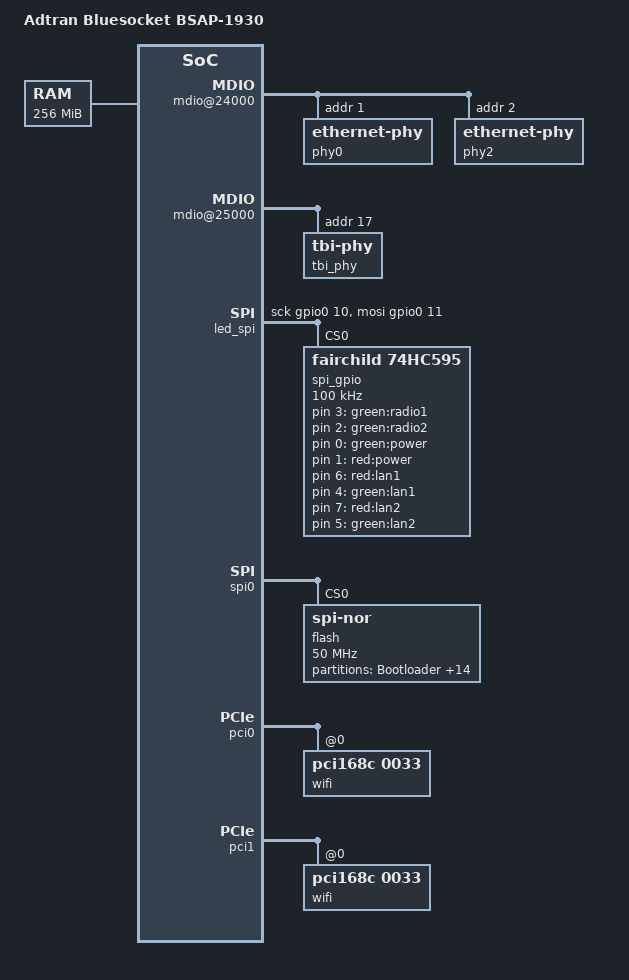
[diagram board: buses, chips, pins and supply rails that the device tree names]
// SPDX-License-Identifier: GPL-2.0-or-later or MIT

#include <dt-bindings/gpio/gpio.h>

/include/ "fsl/p1010si-pre.dtsi"

/ {
	model = "Adtran Bluesocket BSAP-1930";
	compatible = "adtran,bsap-1930";

	aliases {
		led-boot = &led_power_green;
		led-failsafe = &led_power_red;
		led-running = &led_power_green;
		led-upgrade = &led_power_red;
		label-mac-device = &enet0;
	};

	chosen {
		bootargs = "console=ttyS0,115200";
	};

	memory {
		device_type = "memory";
		reg = <0x0 0x0 0x0 0x10000000>;
	};
	
	leds {
		compatible = "gpio-leds";

		wifi1 {
			gpios = <&spi_gpio 3 GPIO_ACTIVE_HIGH>;
			label = "green:radio1";
			linux,default-trigger = "phy1tpt";
		};

		wifi2 {
			gpios = <&spi_gpio 2 GPIO_ACTIVE_HIGH>;
			label = "green:radio2";
			linux,default-trigger = "phy0tpt";
		};

		led_power_green: power_green {
			gpios = <&spi_gpio 0 GPIO_ACTIVE_HIGH>;
			label = "green:power";
		};

		led_power_red: power_red {
			gpios = <&spi_gpio 1 GPIO_ACTIVE_HIGH>;
			label = "red:power";
		};

		lan1_red {
			gpios = <&spi_gpio 6 GPIO_ACTIVE_HIGH>;
			label = "red:lan1";
		};

		lan1_green {
			gpios = <&spi_gpio 4 GPIO_ACTIVE_HIGH>;
			label = "green:lan1";
		};

		lan2_red {
			gpios = <&spi_gpio 7 GPIO_ACTIVE_HIGH>;
			label = "red:lan2";
		};

		lan2_green {
			gpios = <&spi_gpio 5 GPIO_ACTIVE_HIGH>;
			label = "green:lan2";
		};
	};

	soc: soc@ffe00000 {
		ranges = <0x0 0x0 0xffe00000 0x100000>;

		gpio0: gpio-controller@fc00 {
		};

		usb@22000 {
			phy_type = "utmi";
			dr_mode = "host";
		};

		mdio@24000 {
			phy0: ethernet-phy@0 {
				reg = <0x1>;
			};

			phy2: ethernet-phy@2 {
				reg = <0x2>;
			};
		};

		mdio@25000 {
			tbi_phy: tbi-phy@11 {
				reg = <0x11>;
			};
		};

		mdio@26000 {
			status = "disabled";
		};

		enet0: ethernet@b0000 {
			phy-handle = <&phy0>;
			phy-connection-type = "rgmii-id";

			label = "lan1";
		};

		enet1: ethernet@b1000 {
			phy-handle = <&phy2>;
			phy-connection-type = "sgmii";

			tbi-handle = <&tbi_phy>;

			label = "lan2";
		};

		enet2: ethernet@b2000 {
			status = "disabled";
		};

		sdhc@2e000 {
			status = "disabled";
		};
	};

	ifc: ifc@ffe1e000 {
	};

	pci0: pcie@ffe09000 {
		reg = <0 0xffe09000 0 0x1000>;
		ranges = <0x2000000 0x0 0xa0000000 0 0xa0000000 0x0 0x20000000
			  0x1000000 0x0 0x00000000 0 0xffc10000 0x0 0x10000>;
		pcie@0 {
			ranges = <0x2000000 0x0 0xa0000000
				  0x2000000 0x0 0xa0000000
				  0x0 0x20000000

				  0x1000000 0x0 0x0
				  0x1000000 0x0 0x0
				  0x0 0x100000>;

			wifi@0,0,0 {
				compatible = "pci168c,0033";
				reg = <0x0 0 0 0 0>;
				ieee80211-freq-limit = <2400000 2500000>;
			};
		};
	};

	pci1: pcie@ffe0a000 {
		reg = <0 0xffe0a000 0 0x1000>;
		ranges = <0x2000000 0x0 0x80000000 0 0x80000000 0x0 0x20000000
			  0x1000000 0x0 0x00000000 0 0xffc00000 0x0 0x10000>;
		pcie@0 {
			ranges = <0x2000000 0x0 0x80000000
				  0x2000000 0x0 0x80000000
				  0x0 0x20000000

				  0x1000000 0x0 0x0
				  0x1000000 0x0 0x0
				  0x0 0x100000>;
			
			wifi@0,0,0 {
				compatible = "pci168c,0033";
				reg = <0x0 0 0 0 0>;
				ieee80211-freq-limit = <5000000 6000000>;
			};
		};
	};
};

&soc {
	led_spi {
		compatible = "spi-gpio";
		#address-cells = <1>;
		#size-cells = <0>;

		sck-gpios = <&gpio0 10 GPIO_ACTIVE_HIGH>;
		mosi-gpios = <&gpio0 11 GPIO_ACTIVE_HIGH>;
		num-chipselects = <0>;

		spi_gpio: led_gpio@0 {
			compatible = "fairchild,74hc595";
			reg = <0>;
			gpio-controller;
			#gpio-cells = <2>;
			registers-number = <1>;
			spi-max-frequency = <100000>;
		};
	};

	spi0: spi@7000 {
		flash@0 {
			compatible = "jedec,spi-nor";
			reg = <0>;
			spi-max-frequency = <50000000>;

			/*
				 * Original partition layout:
				 * 0x000000000000-0x000000040000 : "Bootloader"
				 * 0x000000040000-0x000000050000 : "Bootloader environment"
				 * 0x000000050000-0x000000090000 : "Cert"
				 * 0x000000090000-0x000000200000 : "Kdump"
				 * 0x000000200000-0x000000300000 : "/var"
				 *  - OS-Image 1
				 * 0x000000300000-0x000000580000 : "Kernel A"
				 * 0x000000580000-0x000001000000 : "Rootfs A"
				 *  - OS-Image 2
				 * 0x000001000000-0x000001280000 : "Kernel B"
				 * 0x000001280000-0x000001d00000 : "Rootfs B"
				 * 
				 * 0x000001d00000-0x000001e00000 : "/home"
				 * 0x000001e00000-0x000001f80000 : "/log"
				 * 0x000001f80000-0x000001f90000 : "DTB A"
				 * 0x000001f90000-0x000001fa0000 : "DTB B"
				 * 0x000001ff0000-0x000002000000 : "ART"
				 * 0x000001fe0000-0x000001ff0000 : "SENA0"
				 */

			partitions {
				compatible = "fixed-partitions";
				#address-cells = <1>;
				#size-cells = <1>;

				partition@0 {
					reg = <0x0 0x40000>;
					label = "Bootloader";
					read-only;
				};

				partition@40000 {
					reg = <0x40000 0x10000>;
					label = "Bootloader environment";
					read-only;
				};

				partition@50000{
					reg = <0x50000 0x40000>;
					label = "Cert";
					read-only;
				};

				partition@90000{
					reg = <0x90000 0x170000>;
					label = "Kdump";
					read-only;
				};

				partition@200000 {
					reg = <0x200000 0x100000>;
					label = "/var";
					read-only;
				};

				partition@300000 {
					reg = <0x300000 0x280000>;
					label = "Kernel A";
					read-only;
				};

				partition@580000 {
					reg = <0x580000 0xA80000>;
					label = "Rootfs A";
					read-only;
				};

				partition@1000000 {
					reg = <0x1000000 0x280000>;
					label = "Kernel B";
					read-only;
				};

				partition@1280000 {
					reg = <0x1280000 0xA80000>;
					label = "Rootfs B";
					read-only;
				};

				partition@1d00000 {
					reg = <0x1d00000 0x100000>;
					label = "/home";
					read-only;
				};

				partition@1e00000 {
					reg = <0x1e00000 0x180000>;
					label = "/log";
					read-only;
				};

				partition@1f80000 {
					reg = <0x1f80000 0x10000>;
					label = "DTB A";
					read-only;
				};

				partition@1f90000 {
					reg = <0x1f90000 0x10000>;
					label = "DTB B";
					read-only;
				};

				partition@1ff0000 {
					reg = <0x1ff0000 0x10000>;
					label = "ART";
					read-only;
				};

				partition@1fe0000 {
					reg = <0x1fe0000 0x10000>;
					label = "SENA0";
					read-only;
				};
			};
		};
	};
};

/include/ "fsl/p1010si-post.dtsi"

/ {
	cpus {
		PowerPC,P1010@0 {
			bus-frequency = <399999996>;
			timebase-frequency = <50000000>;
			clock-frequency = <799999992>;
			d-cache-block-size = <0x20>;
			d-cache-size = <0x8000>;
			d-cache-sets = <0x80>;
			i-cache-block-size = <0x20>;
			i-cache-size = <0x8000>;
			i-cache-sets = <0x80>;
		};
	};

	soc@ffe00000 {
		bus-frequency = <399999996>;

		serial@4600 {
			clock-frequency = <399999996>;
		};

		serial@4500 {
			clock-frequency = <399999996>;
		};

		pic@40000 {
			clock-frequency = <399999996>;
		};
	};
};

/*
 * For the OpenWrt 22.03 release, since Linux 5.10.138 now uses
 * aliases to determine PCI domain numbers, drop aliases so as not to
 * change the sysfs path of our wireless netdevs.
 */

/ {
	aliases {
		/delete-property/ pci0;
		/delete-property/ pci1;
	};
};

